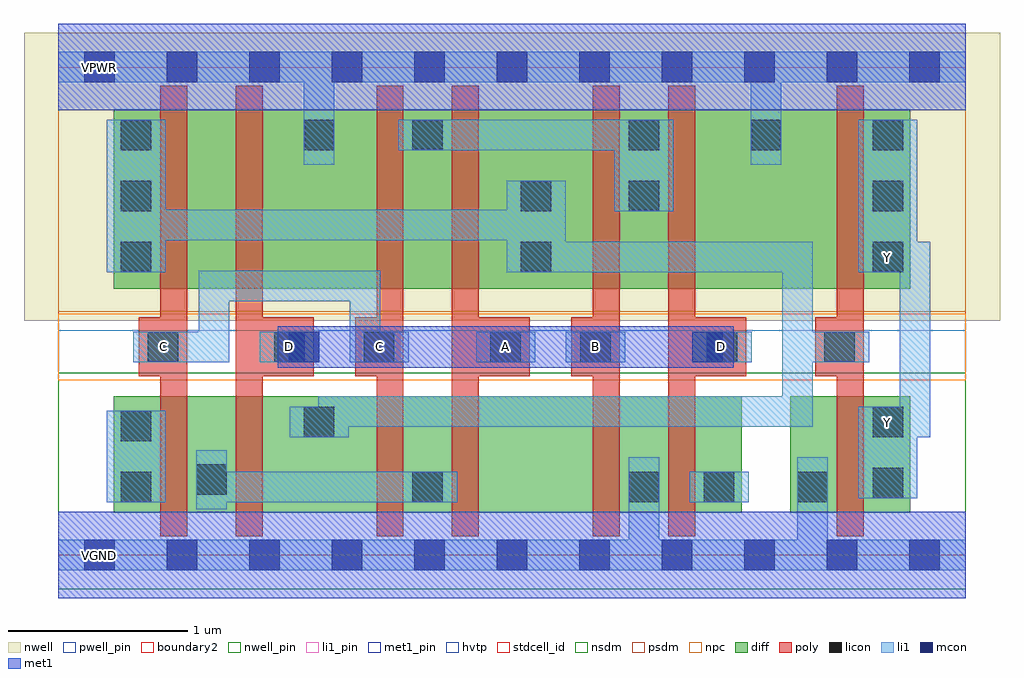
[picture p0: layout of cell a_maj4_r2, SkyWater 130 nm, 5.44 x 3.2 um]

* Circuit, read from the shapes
.subckt a_maj4_r2 A B C D VGND VNB VPB VPWR Y
XM1 n1 C n2 VNB sky130_fd_pr__nfet_01v8 w=0.65 l=0.15
XM2 n3 D n1 VNB sky130_fd_pr__nfet_01v8 w=0.65 l=0.15
XM3 n1 C n3 VNB sky130_fd_pr__nfet_01v8 w=0.65 l=0.15
XM4 n4 A n1 VNB sky130_fd_pr__nfet_01v8 w=0.65 l=0.15
XM5 VGND B n4 VNB sky130_fd_pr__nfet_01v8 w=0.65 l=0.15
XM6 n5 D VGND VNB sky130_fd_pr__nfet_01v8 w=0.65 l=0.15
XM7 Y n3 VGND VNB sky130_fd_pr__nfet_01v8 w=0.65 l=0.15
XM8 n6 C n3 VPB sky130_fd_pr__pfet_01v8_hvt w=1 l=0.15
XM9 VPWR D n6 VPB sky130_fd_pr__pfet_01v8_hvt w=1 l=0.15
XM10 n7 C VPWR VPB sky130_fd_pr__pfet_01v8_hvt w=1 l=0.15
XM11 n3 A n7 VPB sky130_fd_pr__pfet_01v8_hvt w=1 l=0.15
XM12 n7 B n3 VPB sky130_fd_pr__pfet_01v8_hvt w=1 l=0.15
XM13 VPWR D n7 VPB sky130_fd_pr__pfet_01v8_hvt w=1 l=0.15
XM14 Y n3 VPWR VPB sky130_fd_pr__pfet_01v8_hvt w=1 l=0.15
.ends

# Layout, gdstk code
import gdstk
lib = gdstk.Library(unit=1e-6, precision=1e-09)
def R(c, l, rs):  # rectangles x0, y0, x1, y1
    for r in rs: c.add(gdstk.rectangle(r[:2], r[2:], *l))
def A(c, l, x, y, w, h, nx, ny, dx, dy):  # array of equal rectangles
    R(c, l, [(x+i*dx, y+j*dy, x+i*dx+w, y+j*dy+h) for i in range(nx) for j in range(ny)])
nwell_pin = (64, 16)
nwell = (64, 20)
diff = (65, 20)
poly = (66, 20)
licon = (66, 44)
li1_pin = (67, 16)
li1 = (67, 20)
mcon = (67, 44)
met1_pin = (68, 16)
met1 = (68, 20)
hvtp = (78, 44)
stdcell_id = (81, 4)
nsdm = (93, 44)
psdm = (94, 20)
npc = (95, 20)
pwell_pin = (122, 16)
boundary2 = (236, 0)

a_maj4_r2 = lib.new_cell('a_maj4_r2')
R(a_maj4_r2, nwell_pin, [(0.145,2.635,0.315,2.805)])
R(a_maj4_r2, nwell, [(-0.19,1.305,5.25,2.91)])
R(a_maj4_r2, diff, [(0.31,0.235,0.855,0.885), (0.855,0.235,1.46,0.885), (1.46,0.235,2.06,0.885), (2.06,0.235,2.66,0.885), (2.66,0.235,3.265,0.885), (3.265,0.235,3.81,0.885), (4.08,0.235,4.75,0.885), (0.31,1.485,0.855,2.485), (0.855,1.485,1.46,2.485), (1.46,1.485,2.06,2.485), (2.06,1.485,2.66,2.485), (2.66,1.485,3.265,2.485), (3.265,1.485,3.945,2.485), (3.945,1.485,4.75,2.485)])
A(a_maj4_r2, poly, 0.45, 0.995, 0.27, 0.33, 3, 1, 1.205, 0)
A(a_maj4_r2, poly, 0.99, 0.995, 0.435, 0.33, 3, 1, 1.205, 0)
R(a_maj4_r2, poly, [(0.57,0.105,0.72,2.615), (0.99,0.105,1.14,2.615), (1.775,0.105,1.925,2.615), (2.195,0.105,2.345,2.615), (2.98,0.105,3.13,2.615), (3.4,0.105,3.55,2.615), (4.34,0.105,4.49,2.615), (4.22,0.995,4.49,1.325)])
A(a_maj4_r2, licon, 0.35, 1.575, 0.17, 0.17, 1, 3, 0, 0.34)
A(a_maj4_r2, licon, 3.18, 2.255, 0.17, 0.17, 3, 1, 0.68, 0)
R(a_maj4_r2, licon, [(0.35,0.295,0.52,0.465), (1.975,0.295,2.145,0.465), (3.18,0.295,3.35,0.465), (3.6,0.295,3.77,0.465), (4.12,0.295,4.29,0.465), (4.54,0.315,4.71,0.485), (0.77,0.335,0.94,0.505), (0.35,0.635,0.52,0.805), (1.37,0.655,1.54,0.825), (4.54,0.655,4.71,0.825), (0.5,1.075,0.67,1.245), (1.205,1.075,1.375,1.245), (1.705,1.075,1.875,1.245), (2.41,1.075,2.58,1.245), (2.91,1.075,3.08,1.245), (3.615,1.075,3.785,1.245), (4.27,1.075,4.44,1.245), (2.58,1.575,2.75,1.745), (4.54,1.575,4.71,1.745), (2.58,1.915,2.75,2.085), (3.18,1.915,3.35,2.085), (4.54,1.915,4.71,2.085), (1.37,2.255,1.54,2.425), (1.975,2.255,2.145,2.425)])
R(a_maj4_r2, li1_pin, [(4.54,0.655,4.71,0.825), (0.5,1.075,0.67,1.245), (1.205,1.075,1.375,1.245), (1.705,1.075,1.875,1.245), (2.41,1.075,2.58,1.245), (2.91,1.075,3.08,1.245), (3.615,1.075,3.785,1.245), (4.54,1.575,4.71,1.745)])
A(a_maj4_r2, li1, 0.27, 0.295, 0.33, 0.17, 3, 1, 1.625, 0)
R(a_maj4_r2, li1, [(0,-0.085,5.06,0.085), (3.18,-0.085,3.35,0.545), (4.12,-0.085,4.29,0.545), (0.77,0.255,0.94,0.585), (0.27,0.295,0.6,0.805), (0.77,0.295,2.065,0.465), (4.46,0.315,4.79,0.825), (1.29,0.655,1.62,0.825), (1.45,0.655,1.62,0.885), (4.46,0.655,4.79,0.825), (4.62,0.655,4.86,0.825), (4.69,0.655,4.86,1.745), (1.45,0.715,4.205,0.885), (4.035,0.715,4.205,1.245), (0.42,1.075,0.75,1.245), (0.58,1.075,0.955,1.245), (0.75,1.075,0.785,1.245), (0.75,1.075,0.785,1.245), (0.75,1.075,0.785,1.245), (0.75,1.075,0.785,1.245), (0.785,1.075,0.955,1.585), (1.125,1.075,1.455,1.245), (1.625,1.075,1.955,1.245), (1.625,1.075,1.795,1.585), (2.33,1.075,2.66,1.245), (2.83,1.075,3.16,1.245), (3.535,1.075,3.865,1.245), (4.035,1.075,4.36,1.245), (4.035,1.075,4.205,1.745), (4.19,1.075,4.52,1.245), (0.785,1.415,1.795,1.585), (0.27,1.575,0.6,1.745), (0.27,1.575,0.6,2.085), (0.43,1.575,0.6,1.925), (2.5,1.575,2.83,1.745), (2.5,1.575,2.67,1.925), (2.5,1.575,2.83,2.085), (2.66,1.575,4.205,1.745), (4.46,1.575,4.79,1.745), (4.46,1.575,4.79,2.085), (4.62,1.575,4.86,1.745), (0.43,1.745,0.6,1.755), (0.43,1.745,0.6,1.755), (0.43,1.745,0.6,1.755), (0.43,1.745,0.6,1.755), (0.43,1.745,0.6,1.755), (0.43,1.745,0.6,1.755), (0.43,1.745,0.6,1.755), (0.43,1.745,0.6,1.755), (2.5,1.745,2.67,1.755), (2.5,1.745,2.67,1.755), (2.5,1.745,2.67,1.755), (2.5,1.745,2.67,1.755), (2.66,1.745,2.67,1.755), (2.66,1.745,2.67,1.755), (2.66,1.745,2.67,1.755), (2.66,1.745,2.67,1.755), (0.43,1.755,2.67,1.925), (0.43,1.755,0.6,1.915), (0.43,1.755,0.6,1.915), (0.43,1.755,0.6,1.915), (0.43,1.755,0.6,1.915), (0.43,1.755,0.6,1.915), (0.43,1.755,0.6,1.915), (0.43,1.755,0.6,1.915), (0.27,1.915,0.6,2.425), (3.1,1.915,3.43,2.425), (4.46,1.915,4.79,2.425), (1.37,2.175,1.54,2.805), (3.86,2.175,4.03,2.805), (1.895,2.255,2.225,2.425), (2.055,2.255,3.27,2.425), (3.1,2.255,3.43,2.425), (0,2.635,5.06,2.805)])
A(a_maj4_r2, mcon, 0.145, -0.085, 0.17, 0.17, 11, 2, 0.46, 2.72)
R(a_maj4_r2, mcon, [(1.285,1.075,1.455,1.245), (3.535,1.075,3.705,1.245)])
R(a_maj4_r2, met1_pin, [(0.145,-0.085,0.315,0.085), (0.145,2.635,0.315,2.805)])
R(a_maj4_r2, met1, [(0,-0.24,5.06,0.24), (1.225,1.045,1.515,1.275), (1.255,1.045,3.735,1.275), (3.475,1.045,3.765,1.275), (0,2.48,5.06,2.96)])
R(a_maj4_r2, hvtp, [(0,1.25,5.06,2.72)])
R(a_maj4_r2, stdcell_id, [(0,0,5.06,2.72)])
R(a_maj4_r2, nsdm, [(0,-0.19,5.06,1.015)])
R(a_maj4_r2, psdm, [(0,1.355,5.06,2.91)])
R(a_maj4_r2, npc, [(0,0.975,5.06,1.345)])
R(a_maj4_r2, pwell_pin, [(0.145,-0.085,0.315,0.085)])
R(a_maj4_r2, boundary2, [(0,0,5.06,2.72)])
a_maj4_r2.add(gdstk.Label('A', (2.495,1.16), layer=67, texttype=5))
a_maj4_r2.add(gdstk.Label('B', (2.995,1.16), layer=67, texttype=5))
a_maj4_r2.add(gdstk.Label('C', (0.585,1.16), layer=67, texttype=5))
a_maj4_r2.add(gdstk.Label('C', (1.79,1.16), layer=67, texttype=5))
a_maj4_r2.add(gdstk.Label('D', (1.29,1.16), layer=67, texttype=5))
a_maj4_r2.add(gdstk.Label('D', (3.7,1.16), layer=67, texttype=5))
a_maj4_r2.add(gdstk.Label('Y', (4.625,0.74), layer=67, texttype=5))
a_maj4_r2.add(gdstk.Label('Y', (4.625,1.66), layer=67, texttype=5))
a_maj4_r2.add(gdstk.Label('VGND', (0.23,0), layer=68, texttype=5))
a_maj4_r2.add(gdstk.Label('VPWR', (0.23,2.72), layer=68, texttype=5))
a_maj4_r2.add(gdstk.Label('VPB', (0.23,2.72), layer=64, texttype=5))
a_maj4_r2.add(gdstk.Label('VNB', (0.23,0), layer=64, texttype=59))

lib.write_gds('a_maj4_r2.gds')
